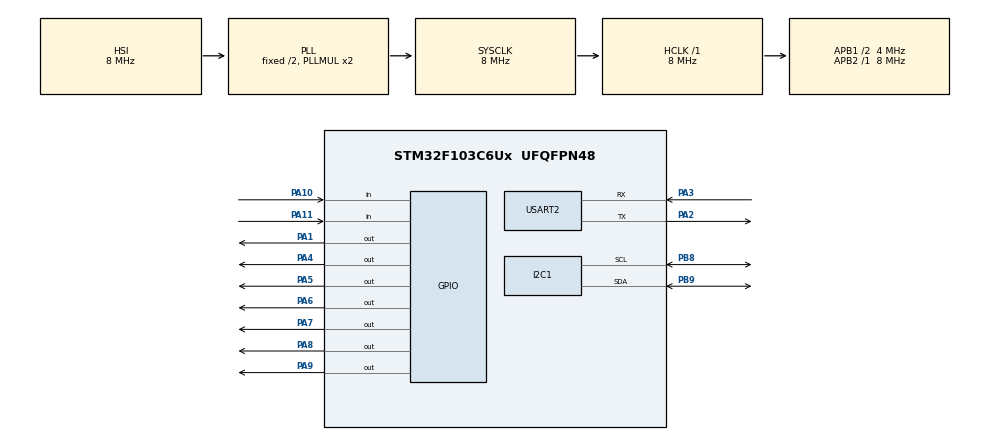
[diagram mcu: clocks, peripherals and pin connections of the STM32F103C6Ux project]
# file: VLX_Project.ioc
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Mcu.Family=STM32F1
Mcu.Name=STM32F103C6Ux
Mcu.Package=UFQFPN48
NVIC.PriorityGroup=NVIC_PRIORITYGROUP_4
NVIC.TIM2_IRQn=true\:0\:0\:false\:false\:true\:true\:true\:true
NVIC.USART2_IRQn=true\:0\:0\:false\:false\:true\:true\:true\:true
PA1.Signal=GPIO_Output
PA10.GPIO_PuPd=GPIO_PULLUP
PA10.Signal=GPIO_Input
PA11.GPIO_PuPd=GPIO_PULLUP
PA11.Signal=GPIO_Input
PA2.Mode=Asynchronous
PA2.Signal=USART2_TX
PA3.Mode=Asynchronous
PA3.Signal=USART2_RX
PA4.Signal=GPIO_Output
PA5.Signal=GPIO_Output
PA6.Signal=GPIO_Output
PA7.Signal=GPIO_Output
PA8.Signal=GPIO_Output
PA9.Signal=GPIO_Output
PB8.Mode=I2C
PB8.Signal=I2C1_SCL
PB9.Mode=I2C
PB9.Signal=I2C1_SDA
ProjectManager.HeapSize=0x200
ProjectManager.StackSize=0x400
ProjectManager.TargetToolchain=STM32CubeIDE
RCC.AHBFreq_Value=8000000
RCC.APB1CLKDivider=RCC_HCLK_DIV2
RCC.APB1Freq_Value=4000000
RCC.APB1TimFreq_Value=8000000
RCC.APB2Freq_Value=8000000
RCC.APB2TimFreq_Value=8000000
RCC.HCLKFreq_Value=8000000
RCC.SYSCLKFreq_VALUE=8000000
RCC.SYSCLKSource=RCC_SYSCLKSOURCE_PLLCLK
RCC.USBFreq_Value=8000000
TIM2.Period=9
TIM2.Prescaler=7999
USART2.VirtualMode=VM_ASYNC
VP_SYS_VS_ND.Mode=No_Debug
VP_TIM2_VS_ClockSourceINT.Mode=Internal
board=custom

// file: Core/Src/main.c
/* USER CODE BEGIN Header */
/**
  ******************************************************************************
  * @file           : main.c
  * @brief          : Main program body
  ******************************************************************************
  * @attention
  *
  * Copyright (c) 2024 STMicroelectronics.
  * All rights reserved.
  *
  * This software is licensed under terms that can be found in the LICENSE file
  * in the root directory of this software component.
  * If no LICENSE file comes with this software, it is provided AS-IS.
  *
  ******************************************************************************
  */
/* USER CODE END Header */
#include "main.h"

/* USER CODE BEGIN Includes */
#include "global.h"
#include "I2C_LCD.h"

#define MyI2C_LCD I2C_LCD_1
/* USER CODE END Includes */

I2C_HandleTypeDef hi2c1;

TIM_HandleTypeDef htim2;

UART_HandleTypeDef huart2;

void SystemClock_Config(void);
static void MX_GPIO_Init(void);
static void MX_TIM2_Init(void);
static void MX_I2C1_Init(void);
static void MX_USART2_UART_Init(void);

/* USER CODE BEGIN 0 */

uint8_t tx_buffer[100] = "HELLO WORLD";
uint8_t rx_idx = 0;
uint8_t rx_data[6];
uint8_t rx_buffer[100];
uint8_t transfer_clpt;

uint8_t HeartChar[] = {0x00, 0x00, 0x0a, 0x15, 0x11, 0x0a, 0x04, 0x00};
uint8_t SmileyFaceChar[] = {0x00, 0x00, 0x0a, 0x00, 0x1f, 0x11, 0x0e, 0x00};
/* USER CODE END 0 */

int main(void)
{

  /* MCU Configuration--------------------------------------------------------*/

  /* Reset of all peripherals, Initializes the Flash interface and the Systick. */
  HAL_Init();

  /* Configure the system clock */
  SystemClock_Config();

  /* Initialize all configured peripherals */
  MX_GPIO_Init();
  MX_TIM2_Init();
  MX_I2C1_Init();
  MX_USART2_UART_Init();
  /* USER CODE BEGIN 2 */
  HAL_TIM_Base_Start_IT (& htim2 );
  HAL_UART_Receive_IT(&huart2, rx_data, 1);
  //HAL_UART_Transmit(&huart2, (char *)"\n\r", 2, 100); // CLEAR KÝ TỰ RÁC
  /* USER CODE END 2 */

  /* Infinite loop */
  /* USER CODE BEGIN WHILE */

  SCH_Init();
  //SCH_Add_Task(BlinkLed, 0 , 1000);
  //SCH_Add_Task(BlinkLed2, 0 , 2000);
  SCH_Add_Task(Run_Traffic_Light,0,100);
  SCH_Add_Task(getKeyInput, 0 , 10);

  while(1)
  {
    /* USER CODE END WHILE */

    /* USER CODE BEGIN 3 */
	  SCH_Dispatch_Task() ;
//	  //
//	  I2C_LCD_NoBacklight(MyI2C_LCD);    HAL_Delay(1000);
//	    I2C_LCD_Backlight(MyI2C_LCD);    HAL_Delay(1000);
//	    I2C_LCD_ShiftRight(MyI2C_LCD);    HAL_Delay(500);
//	    I2C_LCD_ShiftRight(MyI2C_LCD);    HAL_Delay(500);
//	    I2C_LCD_ShiftRight(MyI2C_LCD);    HAL_Delay(500);
//	    I2C_LCD_ShiftLeft(MyI2C_LCD);    HAL_Delay(500);
//	    I2C_LCD_ShiftLeft(MyI2C_LCD);    HAL_Delay(500);
//	    I2C_LCD_ShiftLeft(MyI2C_LCD);    HAL_Delay(500);
//	    I2C_LCD_Cursor(MyI2C_LCD);        HAL_Delay(1000);
//	    I2C_LCD_Blink(MyI2C_LCD);        HAL_Delay(2000);
//	    I2C_LCD_NoBlink(MyI2C_LCD);        HAL_Delay(2000);
//	    I2C_LCD_NoCursor(MyI2C_LCD);    HAL_Delay(1000);
//	    I2C_LCD_NoDisplay(MyI2C_LCD);    HAL_Delay(1000);
//	    I2C_LCD_Display(MyI2C_LCD);        HAL_Delay(1000);

  }
  /* USER CODE END 3 */
}

void SystemClock_Config(void)
{
  RCC_OscInitTypeDef RCC_OscInitStruct = {0};
  RCC_ClkInitTypeDef RCC_ClkInitStruct = {0};

  /** Initializes the RCC Oscillators according to the specified parameters
  * in the RCC_OscInitTypeDef structure.
  */
  RCC_OscInitStruct.OscillatorType = RCC_OSCILLATORTYPE_HSI;
  RCC_OscInitStruct.HSIState = RCC_HSI_ON;
  RCC_OscInitStruct.HSICalibrationValue = RCC_HSICALIBRATION_DEFAULT;
  RCC_OscInitStruct.PLL.PLLState = RCC_PLL_ON;
  RCC_OscInitStruct.PLL.PLLSource = RCC_PLLSOURCE_HSI_DIV2;
  RCC_OscInitStruct.PLL.PLLMUL = RCC_PLL_MUL2;
  if (HAL_RCC_OscConfig(&RCC_OscInitStruct) != HAL_OK)
  {
    Error_Handler();
  }

  /** Initializes the CPU, AHB and APB buses clocks
  */
  RCC_ClkInitStruct.ClockType = RCC_CLOCKTYPE_HCLK|RCC_CLOCKTYPE_SYSCLK
                              |RCC_CLOCKTYPE_PCLK1|RCC_CLOCKTYPE_PCLK2;
  RCC_ClkInitStruct.SYSCLKSource = RCC_SYSCLKSOURCE_PLLCLK;
  RCC_ClkInitStruct.AHBCLKDivider = RCC_SYSCLK_DIV1;
  RCC_ClkInitStruct.APB1CLKDivider = RCC_HCLK_DIV2;
  RCC_ClkInitStruct.APB2CLKDivider = RCC_HCLK_DIV1;

  if (HAL_RCC_ClockConfig(&RCC_ClkInitStruct, FLASH_LATENCY_0) != HAL_OK)
  {
    Error_Handler();
  }
}

static void MX_I2C1_Init(void)
{

  hi2c1.Instance = I2C1;
  hi2c1.Init.ClockSpeed = 100000;
  hi2c1.Init.DutyCycle = I2C_DUTYCYCLE_2;
  hi2c1.Init.OwnAddress1 = 0;
  hi2c1.Init.AddressingMode = I2C_ADDRESSINGMODE_7BIT;
  hi2c1.Init.DualAddressMode = I2C_DUALADDRESS_DISABLE;
  hi2c1.Init.OwnAddress2 = 0;
  hi2c1.Init.GeneralCallMode = I2C_GENERALCALL_DISABLE;
  hi2c1.Init.NoStretchMode = I2C_NOSTRETCH_DISABLE;
  if (HAL_I2C_Init(&hi2c1) != HAL_OK)
  {
    Error_Handler();
  }

}

static void MX_TIM2_Init(void)
{

  TIM_ClockConfigTypeDef sClockSourceConfig = {0};
  TIM_MasterConfigTypeDef sMasterConfig = {0};

  htim2.Instance = TIM2;
  htim2.Init.Prescaler = 7999;
  htim2.Init.CounterMode = TIM_COUNTERMODE_UP;
  htim2.Init.Period = 9;
  htim2.Init.ClockDivision = TIM_CLOCKDIVISION_DIV1;
  htim2.Init.AutoReloadPreload = TIM_AUTORELOAD_PRELOAD_DISABLE;
  if (HAL_TIM_Base_Init(&htim2) != HAL_OK)
  {
    Error_Handler();
  }
  sClockSourceConfig.ClockSource = TIM_CLOCKSOURCE_INTERNAL;
  if (HAL_TIM_ConfigClockSource(&htim2, &sClockSourceConfig) != HAL_OK)
  {
    Error_Handler();
  }
  sMasterConfig.MasterOutputTrigger = TIM_TRGO_RESET;
  sMasterConfig.MasterSlaveMode = TIM_MASTERSLAVEMODE_DISABLE;
  if (HAL_TIMEx_MasterConfigSynchronization(&htim2, &sMasterConfig) != HAL_OK)
  {
    Error_Handler();
  }

}

static void MX_USART2_UART_Init(void)
{

  huart2.Instance = USART2;
  huart2.Init.BaudRate = 115200;
  huart2.Init.WordLength = UART_WORDLENGTH_8B;
  huart2.Init.StopBits = UART_STOPBITS_1;
  huart2.Init.Parity = UART_PARITY_NONE;
  huart2.Init.Mode = UART_MODE_TX_RX;
  huart2.Init.HwFlowCtl = UART_HWCONTROL_NONE;
  huart2.Init.OverSampling = UART_OVERSAMPLING_16;
  if (HAL_UART_Init(&huart2) != HAL_OK)
  {
    Error_Handler();
  }

}

static void MX_GPIO_Init(void)
{
  GPIO_InitTypeDef GPIO_InitStruct = {0};

  /* GPIO Ports Clock Enable */
  __HAL_RCC_GPIOA_CLK_ENABLE();
  __HAL_RCC_GPIOB_CLK_ENABLE();

  /*Configure GPIO pin Output Level */
  HAL_GPIO_WritePin(GPIOA, GPIO_PIN_1|GPIO_PIN_4|GPIO_PIN_5|GPIO_PIN_6
                          |GPIO_PIN_7|GPIO_PIN_8|GPIO_PIN_9, GPIO_PIN_RESET);

  /*Configure GPIO pins : PA1 PA4 PA5 PA6
                           PA7 PA8 PA9 */
  GPIO_InitStruct.Pin = GPIO_PIN_1|GPIO_PIN_4|GPIO_PIN_5|GPIO_PIN_6
                          |GPIO_PIN_7|GPIO_PIN_8|GPIO_PIN_9;
  GPIO_InitStruct.Mode = GPIO_MODE_OUTPUT_PP;
  GPIO_InitStruct.Pull = GPIO_NOPULL;
  GPIO_InitStruct.Speed = GPIO_SPEED_FREQ_LOW;
  HAL_GPIO_Init(GPIOA, &GPIO_InitStruct);

  /*Configure GPIO pins : PA10 PA11 */
  GPIO_InitStruct.Pin = GPIO_PIN_10|GPIO_PIN_11;
  GPIO_InitStruct.Mode = GPIO_MODE_INPUT;
  GPIO_InitStruct.Pull = GPIO_PULLUP;
  HAL_GPIO_Init(GPIOA, &GPIO_InitStruct);

}

/* USER CODE BEGIN 4 */
void HAL_TIM_PeriodElapsedCallback(TIM_HandleTypeDef *htim){
	//timer_run();
	SCH_Update();
}

void HAL_UART_RxCpltCallback(UART_HandleTypeDef *huart)
{
  UNUSED(huart);
  uint8_t i;
  if (huart->Instance == USART2)
  {
    if (rx_idx == 0)
    {
      for (i = 0; i < 100; i++)
      {
        rx_buffer[i] = 0;
      }
    } // RESET RX BUFFER

    if (rx_data[0] != 13)
    {
      rx_buffer[rx_idx++] = rx_data[0];
    }
    else
    {
      rx_idx = 0;
      transfer_clpt = 1;
      HAL_UART_Transmit(&huart2, "\n\r", 2, 100);
      if (!strcmp(rx_buffer, "SHOW TIME"))
      {
        char str[20];
        //sprintf(str, "ADC READ: %d Volt\n\r", ADC_value);
        HAL_UART_Transmit(&huart2, (uint8_t *)str, strlen(str), 100);
      }
      else
      {
        HAL_UART_Transmit(&huart2, "SYNTAX ERROR\n\r", 14, 100);
      }
    }
    HAL_UART_Receive_IT(&huart2, rx_data, 1);
    HAL_UART_Transmit(&huart2, rx_data, strlen(rx_data), 100);
  }
}

/* USER CODE END 4 */

void Error_Handler(void)
{
  __disable_irq();
  while (1)
  {
  }
}
